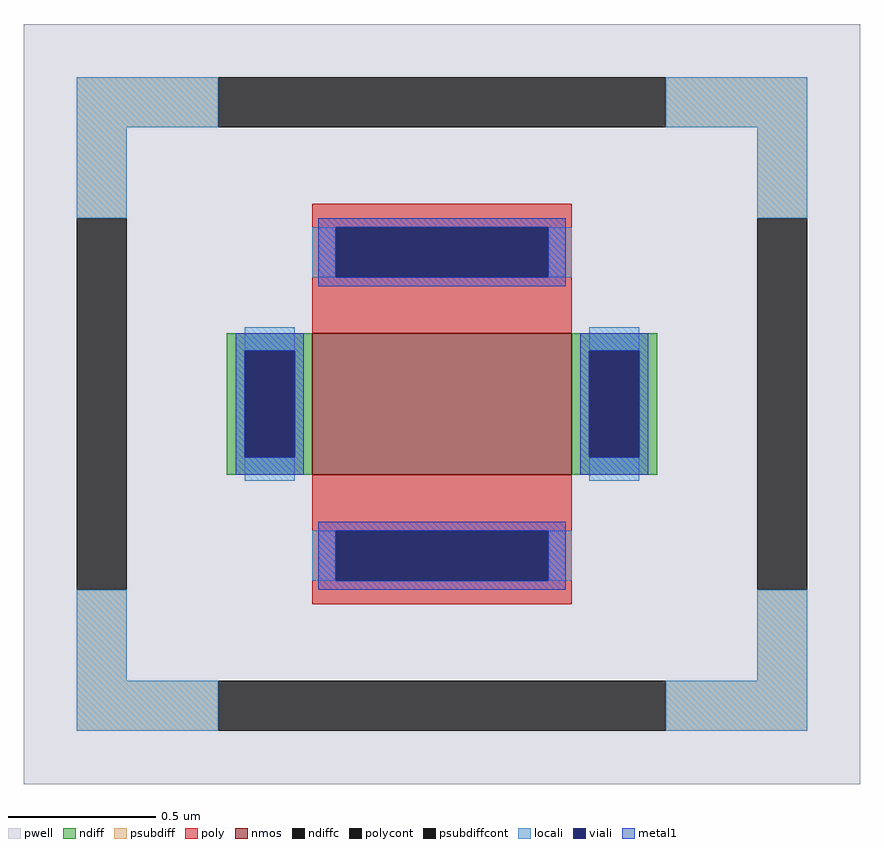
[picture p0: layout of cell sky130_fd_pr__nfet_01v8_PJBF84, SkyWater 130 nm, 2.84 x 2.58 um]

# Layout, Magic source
magic
tech sky130A
<< pwell >>
rect -142 -129 142 129
<< nmos >>
rect -44 -24 44 24
<< ndiff >>
rect -73 18 -44 24
rect -73 -18 -67 18
rect -50 -18 -44 18
rect -73 -24 -44 -18
rect 44 18 73 24
rect 44 -18 50 18
rect 67 -18 73 18
rect 44 -24 73 -18
<< ndiffc >>
rect -67 -18 -50 18
rect 50 -18 67 18
<< psubdiff >>
rect -124 94 -76 111
rect 76 94 124 111
rect -124 63 -107 94
rect 107 63 124 94
rect -124 -94 -107 -63
rect 107 -94 124 -63
rect -124 -111 -76 -94
rect 76 -111 124 -94
<< psubdiffcont >>
rect -76 94 76 111
rect -124 -63 -107 63
rect 107 -63 124 63
rect -76 -111 76 -94
<< poly >>
rect -44 60 44 68
rect -44 43 -36 60
rect 36 43 44 60
rect -44 24 44 43
rect -44 -43 44 -24
rect -44 -60 -36 -43
rect 36 -60 44 -43
rect -44 -68 44 -60
<< polycont >>
rect -36 43 36 60
rect -36 -60 36 -43
<< locali >>
rect -124 94 -76 111
rect 76 94 124 111
rect -124 63 -107 94
rect 107 63 124 94
rect -44 43 -36 60
rect 36 43 44 60
rect -67 18 -50 26
rect -67 -26 -50 -18
rect 50 18 67 26
rect 50 -26 67 -18
rect -44 -60 -36 -43
rect 36 -60 44 -43
rect -124 -94 -107 -63
rect 107 -94 124 -63
rect -124 -111 -76 -94
rect 76 -111 124 -94
<< viali >>
rect -36 43 36 60
rect -67 -18 -50 18
rect 50 -18 67 18
rect -36 -60 36 -43
<< metal1 >>
rect -42 60 42 63
rect -42 43 -36 60
rect 36 43 42 60
rect -42 40 42 43
rect -70 18 -47 24
rect -70 -18 -67 18
rect -50 -18 -47 18
rect -70 -24 -47 -18
rect 47 18 70 24
rect 47 -18 50 18
rect 67 -18 70 18
rect 47 -24 70 -18
rect -42 -43 42 -40
rect -42 -60 -36 -43
rect 36 -60 42 -43
rect -42 -63 42 -60
<< properties >>
string FIXED_BBOX -115 -102 115 102
string gencell sky130_fd_pr__nfet_01v8
string library sky130
string parameters w 0.48 l 0.88 m 1 nf 1 diffcov 100 polycov 100 guard 1 glc 1 grc 1 gtc 1 gbc 1 tbcov 100 rlcov 100 topc 1 botc 1 poverlap 0 doverlap 1 lmin 0.15 wmin 0.42 compatible {sky130_fd_pr__nfet_01v8 sky130_fd_pr__nfet_01v8_lvt  sky130_fd_bs_flash__special_sonosfet_star  sky130_fd_pr__nfet_g5v0d10v5 sky130_fd_pr__nfet_05v0_nvt  sky130_fd_pr__nfet_03v3_nvt} full_metal 1 viasrc 100 viadrn 100 viagate 100 viagb 0 viagr 0 viagl 0 viagt 0
<< end >>
